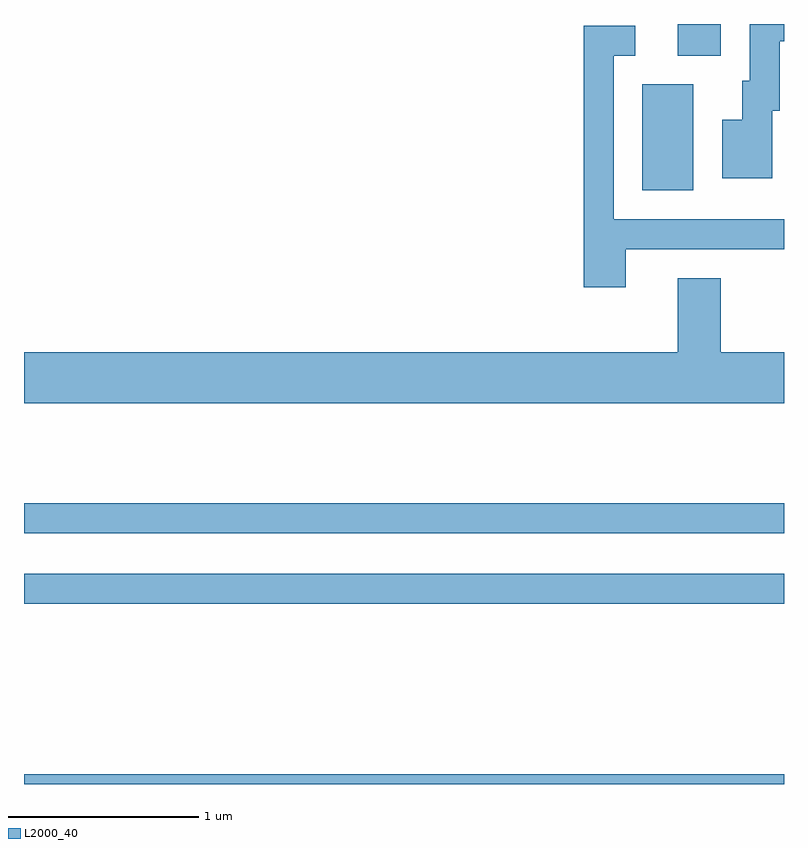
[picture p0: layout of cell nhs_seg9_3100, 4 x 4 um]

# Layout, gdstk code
import gdstk
lib = gdstk.Library(unit=1e-6, precision=1e-09)
def R(c, l, rs):  # rectangles x0, y0, x1, y1
    for r in rs: c.add(gdstk.rectangle(r[:2], r[2:], *l))
def P(c, l, *ps):  # polygons
    for p in ps: c.add(gdstk.Polygon(p, *l))
L2000_40 = (2000, 40)

nhs_seg9_3100 = lib.new_cell('nhs_seg9_3100')
R(nhs_seg9_3100, L2000_40, [(275.611,2036.432,279.611,2036.484), (275.611,2037.381,279.611,2037.539), (275.611,2037.751,279.611,2037.909), (278.866,2039.556,279.134,2040.114), (279.051,2040.266,279.279,2040.432)])
P(nhs_seg9_3100, L2000_40, [(279.549,2039.976),(279.589,2039.976),(279.589,2040.341),(279.611,2040.341),(279.611,2040.432),(279.431,2040.432),(279.431,2040.134),(279.391,2040.134),(279.391,2039.929),(279.286,2039.929),(279.286,2039.621),(279.549,2039.621)],
  [(278.779,2039.246),(279.611,2039.246),(279.611,2039.404),(278.714,2039.404),(278.714,2040.266),(278.828,2040.266),(278.828,2040.424),(278.556,2040.424),(278.556,2039.046),(278.779,2039.046)],
  [(279.611,2038.704),(279.279,2038.704),(279.279,2039.094),(279.051,2039.094),(279.051,2038.704),(275.611,2038.704),(275.611,2038.436),(279.611,2038.436)])

lib.write_gds('nhs_seg9_3100.gds')
